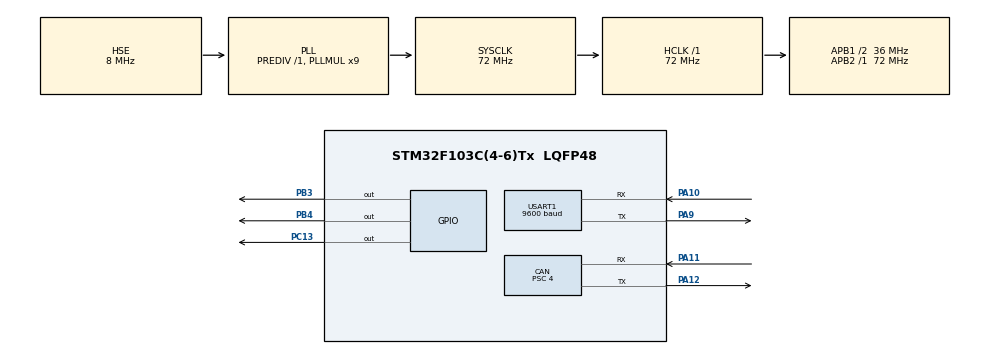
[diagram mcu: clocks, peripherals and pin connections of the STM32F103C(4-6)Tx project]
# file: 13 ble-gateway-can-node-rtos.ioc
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CAN.ABOM=ENABLE
CAN.AWUM=ENABLE
CAN.BS1=CAN_BS1_13TQ
CAN.BS2=CAN_BS2_4TQ
CAN.CalculateBaudRate=500000
CAN.CalculateTimeBit=2000
CAN.CalculateTimeQuantum=111.11111111111111
CAN.NART=ENABLE
CAN.Prescaler=4
FREERTOS.Queues01=q_can_rx,8,uint32_t,0,Dynamic,NULL,NULL;q_gw_can,8,uint32_t,0,Dynamic,NULL,NULL;q_gw_ble,32,uint8_t,0,Dynamic,NULL,NULL
FREERTOS.Tasks01=defaultTask,0,128,StartDefaultTask,Default,NULL,Dynamic,NULL,NULL;CanRxTask,1,128,StartCanRxTask,Default,NULL,Dynamic,NULL,NULL;BleRxTask,1,128,StartBleRxTask,Default,NULL,Dynamic,NULL,NULL;GatewayCANTask,0,256,StartGatewayCANTask,Default,NULL,Dynamic,NULL,NULL;SupervisionTask,-2,128,StartSupervisionTask,Default,NULL,Dynamic,NULL,NULL;GatewayBLETask,0,256,StartGatewayBLETask,Default,NULL,Dynamic,NULL,NULL
FREERTOS.configTOTAL_HEAP_SIZE=6144
Mcu.Family=STM32F1
Mcu.Name=STM32F103C(4-6)Tx
Mcu.Package=LQFP48
NVIC.PriorityGroup=NVIC_PRIORITYGROUP_4
NVIC.TIM2_IRQn=true\:15\:0\:false\:false\:true\:false\:false\:true\:true
NVIC.TimeBase=TIM2_IRQn
NVIC.TimeBaseIP=TIM2
NVIC.USART1_IRQn=true\:5\:0\:false\:false\:true\:true\:true\:true\:true
NVIC.USB_LP_CAN1_RX0_IRQn=true\:5\:0\:false\:false\:true\:true\:true\:true\:true
PA10.Mode=Asynchronous
PA10.Signal=USART1_RX
PA11.Mode=CAN_Activate
PA11.Signal=CAN_RX
PA12.Mode=CAN_Activate
PA12.Signal=CAN_TX
PA13.Mode=Serial_Wire
PA13.Signal=SYS_JTMS-SWDIO
PA14.Mode=Serial_Wire
PA14.Signal=SYS_JTCK-SWCLK
PA9.Mode=Asynchronous
PA9.Signal=USART1_TX
PB3.Signal=GPIO_Output
PB4.Signal=GPIO_Output
PC13-TAMPER-RTC.Signal=GPIO_Output
PD0-OSC_IN.Mode=HSE-External-Oscillator
PD0-OSC_IN.Signal=RCC_OSC_IN
PD1-OSC_OUT.Mode=HSE-External-Oscillator
PD1-OSC_OUT.Signal=RCC_OSC_OUT
ProjectManager.HeapSize=0x200
ProjectManager.StackSize=0x400
ProjectManager.TargetToolchain=STM32CubeIDE
RCC.AHBFreq_Value=72000000
RCC.APB1CLKDivider=RCC_HCLK_DIV2
RCC.APB1Freq_Value=36000000
RCC.APB1TimFreq_Value=72000000
RCC.APB2Freq_Value=72000000
RCC.APB2TimFreq_Value=72000000
RCC.HCLKFreq_Value=72000000
RCC.PLLMUL=RCC_PLL_MUL9
RCC.PLLSourceVirtual=RCC_PLLSOURCE_HSE
RCC.SYSCLKFreq_VALUE=72000000
RCC.SYSCLKSource=RCC_SYSCLKSOURCE_PLLCLK
RCC.USBFreq_Value=72000000
USART1.BaudRate=9600
USART1.VirtualMode=VM_ASYNC
VP_FREERTOS_VS_CMSIS_V1.Mode=CMSIS_V1
VP_SYS_VS_tim2.Mode=TIM2
board=custom

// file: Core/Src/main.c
/* USER CODE BEGIN Header */
/**
  ******************************************************************************
  * @file           : main.c
  * @brief          : Main program body
  ******************************************************************************
  * @attention
  *
  * Copyright (c) 2026 STMicroelectronics.
  * All rights reserved.
  *
  * This software is licensed under terms that can be found in the LICENSE file
  * in the root directory of this software component.
  * If no LICENSE file comes with this software, it is provided AS-IS.
  *
  ******************************************************************************
  */
/* USER CODE END Header */
#include "main.h"
#include "cmsis_os.h"

/* USER CODE BEGIN Includes */
#include "gateway.h"
/* USER CODE END Includes */

CAN_HandleTypeDef hcan;

UART_HandleTypeDef huart1;

osThreadId defaultTaskHandle;
osThreadId CanRxTaskHandle;
osThreadId BleRxTaskHandle;
osThreadId GatewayCANTaskHandle;
osThreadId SupervisionTaskHandle;
osThreadId GatewayBLETaskHandle;
osMessageQId q_can_rxHandle;
osMessageQId q_gw_canHandle;
osMessageQId q_gw_bleHandle;
/* USER CODE BEGIN PV */
osPoolId canPoolHandle;
//osPoolId blePoolHandle;
osSemaphoreId bleRxSemHandle;
/* USER CODE END PV */

void SystemClock_Config(void);
static void MX_GPIO_Init(void);
static void MX_CAN_Init(void);
static void MX_USART1_UART_Init(void);
void StartDefaultTask(void const * argument);
void StartCanRxTask(void const * argument);
void StartBleRxTask(void const * argument);
void StartGatewayCANTask(void const * argument);
void StartSupervisionTask(void const * argument);
void StartGatewayBLETask(void const * argument);

int main(void)
{

  /* MCU Configuration--------------------------------------------------------*/

  /* Reset of all peripherals, Initializes the Flash interface and the Systick. */
  HAL_Init();

  /* Configure the system clock */
  SystemClock_Config();

  /* Initialize all configured peripherals */
  MX_GPIO_Init();
  MX_CAN_Init();
  MX_USART1_UART_Init();
  /* USER CODE BEGIN 2 */
  Gateway_Init();
  /* USER CODE END 2 */

  /* Create the queue(s) */
  /* definition and creation of q_can_rx */
  osMessageQDef(q_can_rx, 8, uint32_t);
  q_can_rxHandle = osMessageCreate(osMessageQ(q_can_rx), NULL);

  /* definition and creation of q_gw_can */
  osMessageQDef(q_gw_can, 8, uint32_t);
  q_gw_canHandle = osMessageCreate(osMessageQ(q_gw_can), NULL);

  /* definition and creation of q_gw_ble */
  osMessageQDef(q_gw_ble, 32, uint8_t);
  q_gw_bleHandle = osMessageCreate(osMessageQ(q_gw_ble), NULL);

  /* USER CODE BEGIN RTOS_QUEUES */
  /* add queues, ... */
  osPoolDef(canPool, 8, can_frame_t);
  canPoolHandle = osPoolCreate(osPool(canPool));

  //osPoolDef(blePool, 8, proto_frame_t);
  //blePoolHandle = osPoolCreate(osPool(blePool));

  osSemaphoreDef(bleRxSem);
  bleRxSemHandle = osSemaphoreCreate(osSemaphore(bleRxSem), 1);
  osSemaphoreWait(bleRxSemHandle, 0); // start at 0
  /* USER CODE END RTOS_QUEUES */

  /* Create the thread(s) */
  /* definition and creation of defaultTask */
  osThreadDef(defaultTask, StartDefaultTask, osPriorityNormal, 0, 128);
  defaultTaskHandle = osThreadCreate(osThread(defaultTask), NULL);

  /* definition and creation of CanRxTask */
  osThreadDef(CanRxTask, StartCanRxTask, osPriorityAboveNormal, 0, 128);
  CanRxTaskHandle = osThreadCreate(osThread(CanRxTask), NULL);

  /* definition and creation of BleRxTask */
  osThreadDef(BleRxTask, StartBleRxTask, osPriorityAboveNormal, 0, 128);
  BleRxTaskHandle = osThreadCreate(osThread(BleRxTask), NULL);

  /* definition and creation of GatewayCANTask */
  osThreadDef(GatewayCANTask, StartGatewayCANTask, osPriorityNormal, 0, 256);
  GatewayCANTaskHandle = osThreadCreate(osThread(GatewayCANTask), NULL);

  /* definition and creation of SupervisionTask */
  osThreadDef(SupervisionTask, StartSupervisionTask, osPriorityLow, 0, 128);
  SupervisionTaskHandle = osThreadCreate(osThread(SupervisionTask), NULL);

  /* definition and creation of GatewayBLETask */
  osThreadDef(GatewayBLETask, StartGatewayBLETask, osPriorityNormal, 0, 256);
  GatewayBLETaskHandle = osThreadCreate(osThread(GatewayBLETask), NULL);

  /* Start scheduler */
  osKernelStart();

  /* We should never get here as control is now taken by the scheduler */

  /* Infinite loop */
  while (1)
  {

  }
}

void SystemClock_Config(void)
{
  RCC_OscInitTypeDef RCC_OscInitStruct = {0};
  RCC_ClkInitTypeDef RCC_ClkInitStruct = {0};

  /** Initializes the RCC Oscillators according to the specified parameters
  * in the RCC_OscInitTypeDef structure.
  */
  RCC_OscInitStruct.OscillatorType = RCC_OSCILLATORTYPE_HSE;
  RCC_OscInitStruct.HSEState = RCC_HSE_ON;
  RCC_OscInitStruct.HSEPredivValue = RCC_HSE_PREDIV_DIV1;
  RCC_OscInitStruct.HSIState = RCC_HSI_ON;
  RCC_OscInitStruct.PLL.PLLState = RCC_PLL_ON;
  RCC_OscInitStruct.PLL.PLLSource = RCC_PLLSOURCE_HSE;
  RCC_OscInitStruct.PLL.PLLMUL = RCC_PLL_MUL9;
  if (HAL_RCC_OscConfig(&RCC_OscInitStruct) != HAL_OK)
  {
    Error_Handler();
  }

  /** Initializes the CPU, AHB and APB buses clocks
  */
  RCC_ClkInitStruct.ClockType = RCC_CLOCKTYPE_HCLK|RCC_CLOCKTYPE_SYSCLK
                              |RCC_CLOCKTYPE_PCLK1|RCC_CLOCKTYPE_PCLK2;
  RCC_ClkInitStruct.SYSCLKSource = RCC_SYSCLKSOURCE_PLLCLK;
  RCC_ClkInitStruct.AHBCLKDivider = RCC_SYSCLK_DIV1;
  RCC_ClkInitStruct.APB1CLKDivider = RCC_HCLK_DIV2;
  RCC_ClkInitStruct.APB2CLKDivider = RCC_HCLK_DIV1;

  if (HAL_RCC_ClockConfig(&RCC_ClkInitStruct, FLASH_LATENCY_2) != HAL_OK)
  {
    Error_Handler();
  }
}

static void MX_CAN_Init(void)
{

  hcan.Instance = CAN1;
  hcan.Init.Prescaler = 4;
  hcan.Init.Mode = CAN_MODE_NORMAL;
  hcan.Init.SyncJumpWidth = CAN_SJW_1TQ;
  hcan.Init.TimeSeg1 = CAN_BS1_13TQ;
  hcan.Init.TimeSeg2 = CAN_BS2_4TQ;
  hcan.Init.TimeTriggeredMode = DISABLE;
  hcan.Init.AutoBusOff = ENABLE;
  hcan.Init.AutoWakeUp = ENABLE;
  hcan.Init.AutoRetransmission = ENABLE;
  hcan.Init.ReceiveFifoLocked = DISABLE;
  hcan.Init.TransmitFifoPriority = DISABLE;
  if (HAL_CAN_Init(&hcan) != HAL_OK)
  {
    Error_Handler();
  }

}

static void MX_USART1_UART_Init(void)
{

  huart1.Instance = USART1;
  huart1.Init.BaudRate = 9600;
  huart1.Init.WordLength = UART_WORDLENGTH_8B;
  huart1.Init.StopBits = UART_STOPBITS_1;
  huart1.Init.Parity = UART_PARITY_NONE;
  huart1.Init.Mode = UART_MODE_TX_RX;
  huart1.Init.HwFlowCtl = UART_HWCONTROL_NONE;
  huart1.Init.OverSampling = UART_OVERSAMPLING_16;
  if (HAL_UART_Init(&huart1) != HAL_OK)
  {
    Error_Handler();
  }

}

static void MX_GPIO_Init(void)
{
  GPIO_InitTypeDef GPIO_InitStruct = {0};

  /* GPIO Ports Clock Enable */
  __HAL_RCC_GPIOC_CLK_ENABLE();
  __HAL_RCC_GPIOD_CLK_ENABLE();
  __HAL_RCC_GPIOA_CLK_ENABLE();
  __HAL_RCC_GPIOB_CLK_ENABLE();

  /*Configure GPIO pin Output Level */
  HAL_GPIO_WritePin(GPIOC, GPIO_PIN_13, GPIO_PIN_RESET);

  /*Configure GPIO pin Output Level */
  HAL_GPIO_WritePin(GPIOB, GPIO_PIN_3|GPIO_PIN_4, GPIO_PIN_RESET);

  /*Configure GPIO pin : PC13 */
  GPIO_InitStruct.Pin = GPIO_PIN_13;
  GPIO_InitStruct.Mode = GPIO_MODE_OUTPUT_PP;
  GPIO_InitStruct.Pull = GPIO_NOPULL;
  GPIO_InitStruct.Speed = GPIO_SPEED_FREQ_LOW;
  HAL_GPIO_Init(GPIOC, &GPIO_InitStruct);

  /*Configure GPIO pins : PB3 PB4 */
  GPIO_InitStruct.Pin = GPIO_PIN_3|GPIO_PIN_4;
  GPIO_InitStruct.Mode = GPIO_MODE_OUTPUT_PP;
  GPIO_InitStruct.Pull = GPIO_NOPULL;
  GPIO_InitStruct.Speed = GPIO_SPEED_FREQ_LOW;
  HAL_GPIO_Init(GPIOB, &GPIO_InitStruct);

}

void StartDefaultTask(void const * argument)
{
  /* USER CODE BEGIN 5 */
  /* Infinite loop */
  for(;;)
  {
	  osDelay(osWaitForever); //It never wakes, It consumes zero CPU, It just exists to satisfy CubeMX
  }
  /* USER CODE END 5 */
}

void StartCanRxTask(void const * argument)
{
  /* USER CODE BEGIN StartCanRxTask */
  /* Infinite loop */
	osEvent evt;

	for(;;)
	{
		evt = osMessageGet(q_can_rxHandle, osWaitForever);

		if (evt.status == osEventMessage)
		{
			can_frame_t *frame =
				(can_frame_t*)evt.value.v;

			osMessagePut(q_gw_canHandle,
						 (uint32_t)frame,
						 0);
		}
	}
  /* USER CODE END StartCanRxTask */
}

void StartBleRxTask(void const * argument)
{
  /* USER CODE BEGIN StartBleRxTask */
  /* Infinite loop */
	uint8_t byte;

	for(;;)
	{
		osSemaphoreWait(bleRxSemHandle, osWaitForever);

		while (BLE_GetByte(&byte))
		{
			osMessagePut(q_gw_bleHandle,
						 byte,
						 0);
		}
	}
  /* USER CODE END StartBleRxTask */
}

void StartGatewayCANTask(void const * argument)
{
  /* USER CODE BEGIN StartGatewayCANTask */
  /* Infinite loop */
	osEvent evt;

	for(;;)
	{
		evt = osMessageGet(q_gw_canHandle, osWaitForever);

		if (evt.status == osEventMessage)
		{
			can_frame_t *frame =
				(can_frame_t*)evt.value.v;

			Gateway_ProcessCan(
				frame->id,
				frame->data,
				frame->len);

			osPoolFree(canPoolHandle, frame);
		}
	}
  /* USER CODE END StartGatewayCANTask */
}

void StartSupervisionTask(void const * argument)
{
  /* USER CODE BEGIN StartSupervisionTask */
  /* Infinite loop */
  for(;;)
  {
	  Gateway_Supervision_Task();
	  osDelay(1000);
  }
  /* USER CODE END StartSupervisionTask */
}

void StartGatewayBLETask(void const * argument)
{
  /* USER CODE BEGIN StartGatewayBLETask */
  /* Infinite loop */
	osEvent evt;

	for(;;)
	{
		evt = osMessageGet(q_gw_bleHandle, osWaitForever);

		if (evt.status == osEventMessage)
		{
			uint8_t byte = evt.value.v;

			Gateway_ProcessBle(byte);
		}
	}
  /* USER CODE END StartGatewayBLETask */
}

void HAL_TIM_PeriodElapsedCallback(TIM_HandleTypeDef *htim)
{
  if (htim->Instance == TIM2)
  {
    HAL_IncTick();
  }
}

void Error_Handler(void)
{
  __disable_irq();
  while (1)
  {
  }
}
